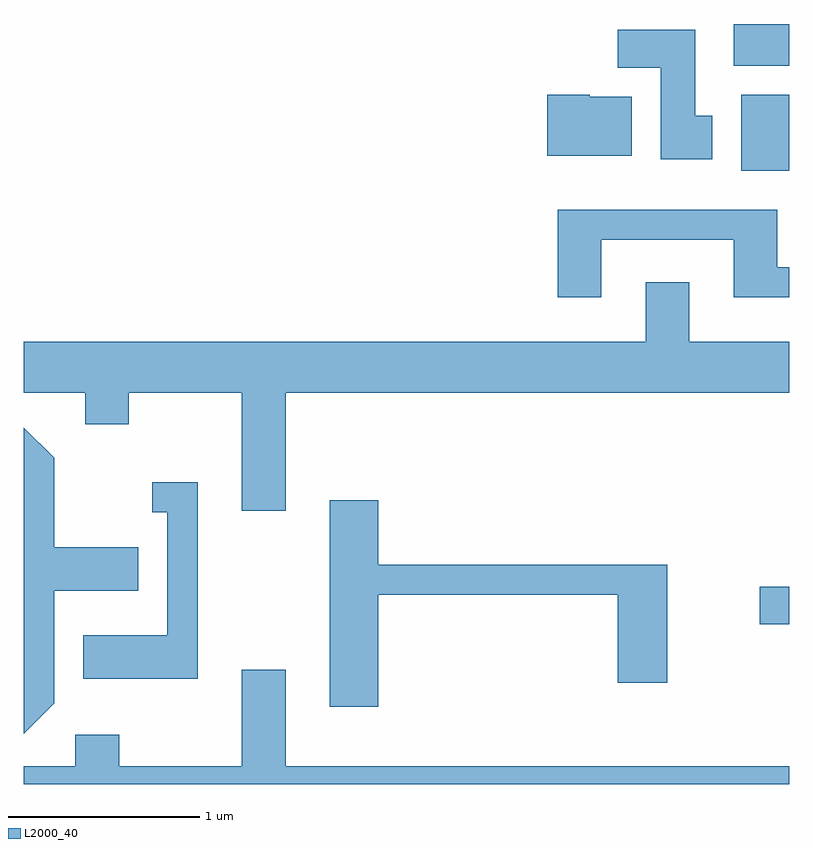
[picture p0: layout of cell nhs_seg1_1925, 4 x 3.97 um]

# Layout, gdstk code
import gdstk
lib = gdstk.Library(unit=1e-6, precision=1e-09)
def R(c, l, rs):  # rectangles x0, y0, x1, y1
    for r in rs: c.add(gdstk.rectangle(r[:2], r[2:], *l))
def P(c, l, *ps):  # polygons
    for p in ps: c.add(gdstk.Polygon(p, *l))
L2000_40 = (2000, 40)

nhs_seg1_1925 = lib.new_cell('nhs_seg1_1925')
R(nhs_seg1_1925, L2000_40, [(247.456,940.546,247.611,940.744), (247.361,942.916,247.611,943.314), (247.321,943.466,247.611,943.684)])
P(nhs_seg1_1925, L2000_40, [(247.209,943.204),(247.119,943.204),(247.119,943.654),(246.716,943.654),(246.716,943.456),(246.941,943.456),(246.941,942.976),(247.209,942.976)],
  [(246.789,943.304),(246.57,943.304),(246.57,943.314),(246.346,943.314),(246.346,942.996),(246.789,942.996)],
  [(246.629,942.556),(247.321,942.556),(247.321,942.256),(247.611,942.256),(247.611,942.414),(247.549,942.414),(247.549,942.714),(246.401,942.714),(246.401,942.256),(246.629,942.256)],
  [(244.979,941.756),(247.611,941.756),(247.611,942.024),(247.089,942.024),(247.089,942.334),(246.861,942.334),(246.861,942.024),(243.611,942.024),(243.611,941.756),(243.931,941.756),(243.931,941.591),(244.159,941.591),(244.159,941.756),(244.751,941.756),(244.751,941.141),(244.979,941.141)],
  [(243.769,940.134),(243.769,940.721),(244.209,940.721),(244.209,940.949),(243.769,940.949),(243.769,941.417),(243.611,941.575),(243.611,939.975)],
  [(244.519,941.289),(244.283,941.289),(244.283,941.131),(244.361,941.131),(244.361,940.489),(243.921,940.489),(243.921,940.261),(244.519,940.261)],
  [(245.464,940.701),(246.716,940.701),(246.716,940.241),(246.974,940.241),(246.974,940.859),(245.464,940.859),(245.464,941.194),(245.211,941.194),(245.211,940.116),(245.464,940.116)],
  [(247.611,939.804),(244.979,939.804),(244.979,940.309),(244.751,940.309),(244.751,939.804),(244.109,939.804),(244.109,939.969),(243.881,939.969),(243.881,939.804),(243.611,939.804),(243.611,939.712),(247.611,939.712)])

lib.write_gds('nhs_seg1_1925.gds')
